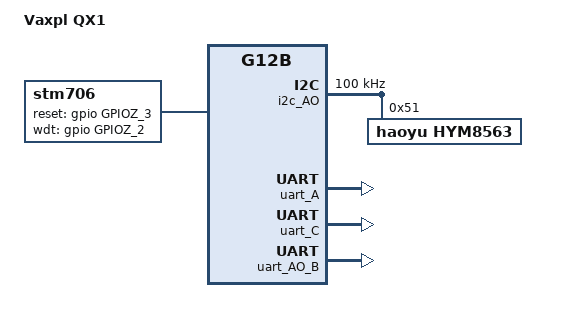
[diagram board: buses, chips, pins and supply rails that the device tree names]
/*
 * arch/arm64/boot/dts/amlogic/qx1_linux.dts
 *
 * Copyright (C) 2021 Vaxpl, Inc. All rights reserved.
 *
 * This program is free software; you can redistribute it and/or modify
 * it under the terms of the GNU General Public License as published by
 * the Free Software Foundation; either version 2 of the License, or
 * (at your option) any later version.
 *
 * This program is distributed in the hope that it will be useful, but WITHOUT
 * ANY WARRANTY; without even the implied warranty of MERCHANTABILITY or
 * FITNESS FOR A PARTICULAR PURPOSE.  See the GNU General Public License for
 * more details.
 *
 */

/dts-v1/;

#include "rp-a311d.dtsi"

/ {
	model = "Vaxpl QX1";
	amlogic-dt-id = "g12b_qx1";
	compatible = "vaxpl,qx1", "amlogic,g12b";

	stm706 {
		status = "okay";
		compatible = "stm706";
		reset_gpio = <&gpio GPIOZ_3 GPIO_ACTIVE_HIGH>;
		wdt_gpio = <&gpio GPIOZ_2 GPIO_ACTIVE_HIGH>;
	};
};

&i2c_AO {
	status = "okay";
	pinctrl-names = "default";
	pinctrl-0 = <&ao_i2c_master_pins1>;
	clock-frequency = <100000>;

	hym8563: hym8563@51 {
		compatible = "haoyu,hym8563";
		reg = <0x51>;
		#clock-cells = <0>;
	};
};

&uart_A { /* Bluetooth */
	status = "okay";
};

&uart_C { /* RS-485 */
	status = "okay";
};

&uart_AO_B { /* RS-232 */
	status = "okay";
};

